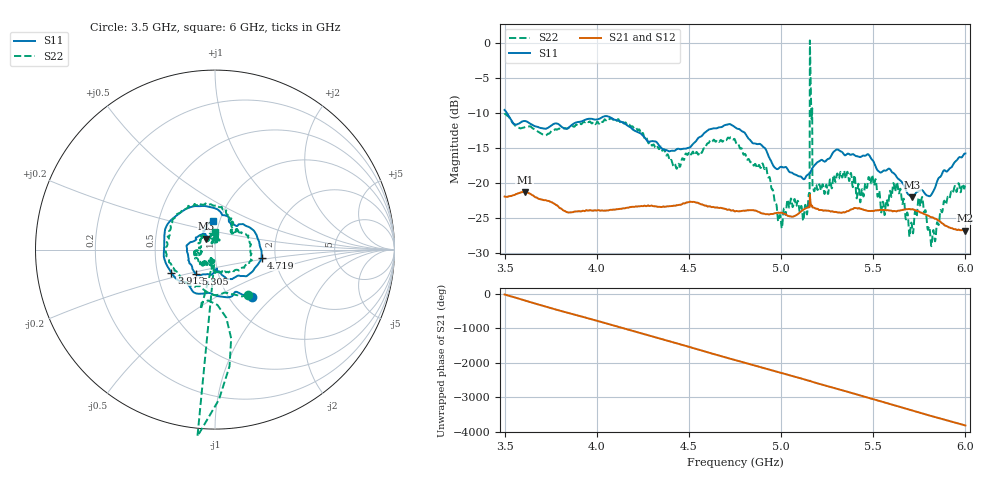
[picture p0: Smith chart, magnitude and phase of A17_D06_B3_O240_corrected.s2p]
! Created with skrf 1.9.0 (http://scikit-rf.org).
# Hz S RI R 50.0
!freq ReS11 ImS11 ReS21 ImS21 ReS12 ImS12 ReS22 ImS22
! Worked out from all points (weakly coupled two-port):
!   1601 points, 3.5 GHz to 6 GHz, reference 50 ohm
!   highest |S21| = -21.30 dB at 3.609 GHz (marker M1); lowest = -26.8 dB at 5.998 GHz (marker M2)
!   lowest |S11| = -22.1 dB at 5.713 GHz (marker M3), VSWR 1.17, Z = 45 + j5.55 ohm
!   |S11| at or under -10 dB: 3.513 GHz to end of sweep
!   |S22| runs from -29.1 to 0.4 dB; largest |S21 - S12| = 0.001
!   S11 on the Smith chart (normalised r, x): 3.5 GHz: 1.27, -0.75; 3.913 GHz: 0.59, -0.16; 4.719 GHz: 1.69, -0.16; 5.305 GHz: 0.78, -0.22; 6 GHz: 0.93, +0.31
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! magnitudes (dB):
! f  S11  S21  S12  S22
! 3.5 GHz  -9.6  -22.0  -21.9  -10.0
! 3.609 GHz  -11.2  -21.3  -21.3  -12.0
! 3.913 GHz  -11.2  -24.1  -24.0  -11.6
! 3.917 GHz  -11.2  -24.1  -24.0  -11.6
! 4.334 GHz  -14.5  -23.4  -23.4  -15.1
! 4.441 GHz  -15.1  -23.2  -23.1  -17.5
! 4.719 GHz  -11.6  -23.8  -23.9  -13.6
! 4.75 GHz  -12.0  -24.1  -24.0  -13.8
! 4.911 GHz  -15.0  -24.4  -24.4  -18.0
! 4.995 GHz  -17.7  -24.3  -24.2  -24.6
! 5.131 GHz  -19.3  -23.7  -23.7  -23.1
! 5.156 GHz  -18.6  -21.7  -21.6  0.4
! 5.167 GHz  -18.0  -23.3  -23.2  -10.3
! 5.183 GHz  -17.5  -23.6  -23.5  -21.0
! 5.305 GHz  -15.2  -24.2  -24.2  -18.7
! 5.584 GHz  -18.0  -24.0  -23.9  -22.5
! 5.638 GHz  -19.5  -24.0  -23.9  -21.4
! 5.713 GHz  -22.1  -23.8  -23.7  -26.7
! 5.756 GHz  -21.1  -24.2  -24.2  -23.4
! 5.825 GHz  -21.3  -25.0  -24.9  -26.8
! 5.998 GHz  -15.8  -26.8  -26.8  -20.2
! 6 GHz  -15.8  -26.8  -26.8  -19.9
